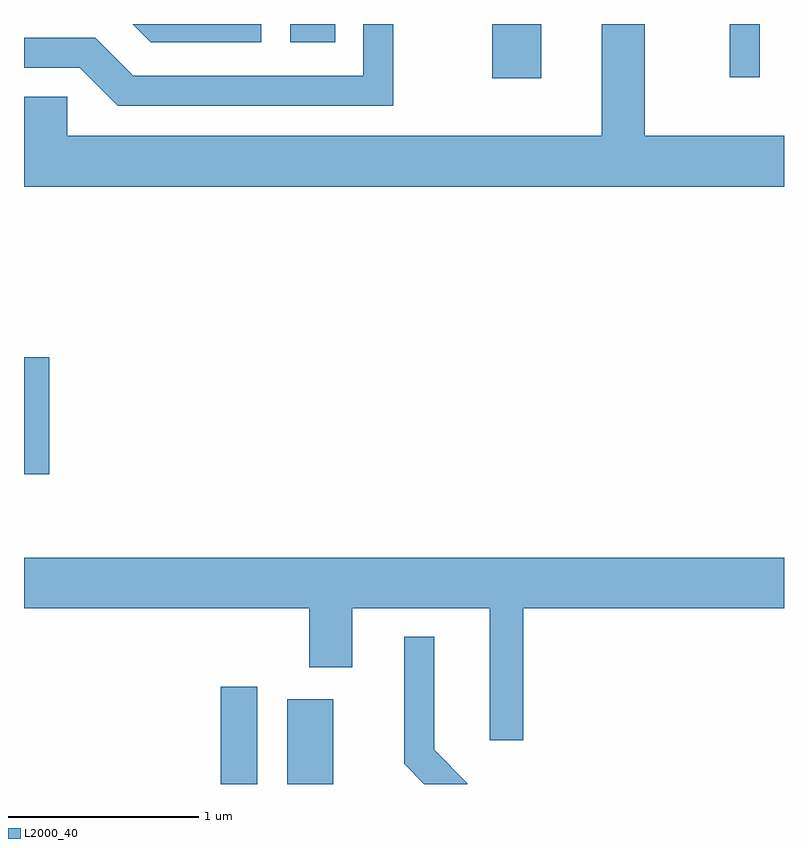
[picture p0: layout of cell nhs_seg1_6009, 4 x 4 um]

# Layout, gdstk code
import gdstk
lib = gdstk.Library(unit=1e-6, precision=1e-09)
def R(c, l, rs):  # rectangles x0, y0, x1, y1
    for r in rs: c.add(gdstk.rectangle(r[:2], r[2:], *l))
def P(c, l, *ps):  # polygons
    for p in ps: c.add(gdstk.Polygon(p, *l))
L2000_40 = (2000, 40)

nhs_seg1_6009 = lib.new_cell('nhs_seg1_6009')
R(nhs_seg1_6009, L2000_40, [(366.646,949.712,366.839,950.224), (366.996,949.712,367.239,950.159), (365.611,951.341,365.744,951.959), (368.076,953.426,368.334,953.712), (369.326,953.433,369.484,953.712), (367.011,953.616,367.248,953.712)])
P(nhs_seg1_6009, L2000_40, [(369.611,953.124),(368.879,953.124),(368.879,953.712),(368.651,953.712),(368.651,953.124),(365.839,953.124),(365.839,953.329),(365.611,953.329),(365.611,952.856),(369.611,952.856)],
  [(366.859,953.712),(366.183,953.712),(366.279,953.616),(366.859,953.616)],
  [(367.554,953.712),(367.396,953.712),(367.396,953.439),(366.187,953.439),(365.987,953.639),(365.611,953.639),(365.611,953.481),(365.904,953.481),(366.104,953.281),(367.554,953.281)],
  [(368.239,950.636),(369.611,950.636),(369.611,950.904),(365.611,950.904),(365.611,950.636),(367.111,950.636),(367.111,950.326),(367.339,950.326),(367.339,950.636),(368.061,950.636),(368.061,949.941),(368.239,949.941)],
  [(367.944,949.717),(367.769,949.892),(367.769,950.488),(367.611,950.488),(367.611,949.819),(367.718,949.712),(367.944,949.712)])

lib.write_gds('nhs_seg1_6009.gds')
